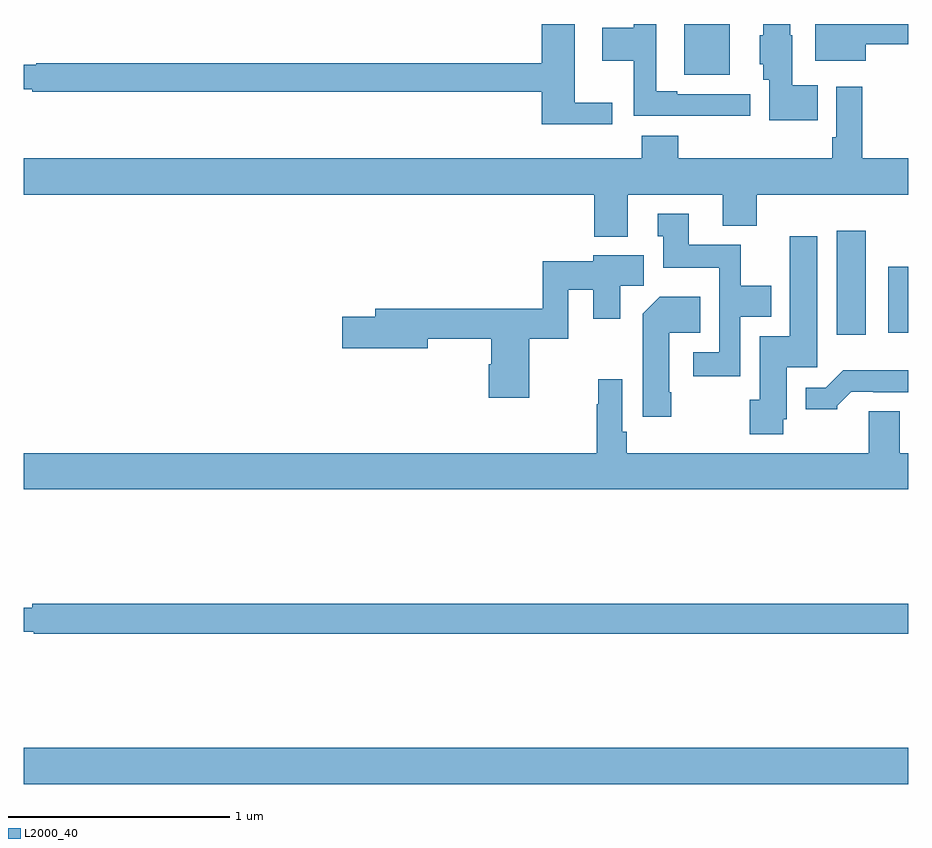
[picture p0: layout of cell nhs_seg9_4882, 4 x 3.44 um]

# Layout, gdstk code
import gdstk
lib = gdstk.Library(unit=1e-6, precision=1e-09)
def R(c, l, rs):  # rectangles x0, y0, x1, y1
    for r in rs: c.add(gdstk.rectangle(r[:2], r[2:], *l))
def P(c, l, *ps):  # polygons
    for p in ps: c.add(gdstk.Polygon(p, *l))
L2000_40 = (2000, 40)

nhs_seg9_4882 = lib.new_cell('nhs_seg9_4882')
R(nhs_seg9_4882, L2000_40, [(393,1219.064,397,1219.228), (396.677,1221.096,396.808,1221.565), (396.908,1221.104,397,1221.403), (395.987,1222.271,396.193,1222.5)])
P(nhs_seg9_4882, L2000_40, [(396.808,1222.408),(397,1222.408),(397,1222.5),(396.578,1222.5),(396.578,1222.334),(396.808,1222.334)],
  [(395.662,1222.145),(395.491,1222.145),(395.491,1222.5),(395.342,1222.5),(395.342,1222.322),(393.058,1222.322),(393.058,1222.315),(393,1222.315),(393,1222.206),(393.04,1222.206),(393.04,1222.194),(395.342,1222.194),(395.342,1222.046),(395.662,1222.046)],
  [(396.286,1222.182),(395.956,1222.182),(395.956,1222.195),(395.859,1222.195),(395.859,1222.5),(395.758,1222.5),(395.758,1222.482),(395.616,1222.482),(395.616,1222.334),(395.758,1222.334),(395.758,1222.086),(396.043,1222.086),(396.043,1222.085),(396.286,1222.085)],
  [(396.59,1222.222),(396.475,1222.222),(396.475,1222.449),(396.466,1222.449),(396.466,1222.5),(396.344,1222.5),(396.344,1222.449),(396.329,1222.449),(396.329,1222.317),(396.344,1222.317),(396.344,1222.248),(396.371,1222.248),(396.371,1222.064),(396.59,1222.064)],
  [(395.731,1221.728),(396.161,1221.728),(396.161,1221.587),(396.314,1221.587),(396.314,1221.728),(397,1221.728),(397,1221.892),(396.791,1221.892),(396.791,1222.216),(396.675,1222.216),(396.675,1221.988),(396.655,1221.988),(396.655,1221.892),(395.96,1221.892),(395.96,1221.994),(395.795,1221.994),(395.795,1221.892),(393,1221.892),(393,1221.728),(395.579,1221.728),(395.579,1221.539),(395.731,1221.539)],
  [(396.24,1221.176),(396.379,1221.176),(396.379,1221.316),(396.243,1221.316),(396.243,1221.502),(396.007,1221.502),(396.007,1221.643),(395.867,1221.643),(395.867,1221.54),(395.891,1221.54),(395.891,1221.398),(396.144,1221.398),(396.144,1221.015),(396.027,1221.015),(396.027,1220.907),(396.24,1220.907)],
  [(396.435,1220.712),(396.451,1220.712),(396.451,1220.949),(396.589,1220.949),(396.589,1221.541),(396.464,1221.541),(396.464,1221.088),(396.329,1221.088),(396.329,1220.802),(396.283,1220.802),(396.283,1220.646),(396.435,1220.646)],
  [(395.285,1221.076),(395.463,1221.076),(395.463,1221.298),(395.576,1221.298),(395.576,1221.168),(395.698,1221.168),(395.698,1221.316),(395.803,1221.316),(395.803,1221.454),(395.576,1221.454),(395.576,1221.427),(395.347,1221.427),(395.347,1221.212),(394.589,1221.212),(394.589,1221.176),(394.44,1221.176),(394.44,1221.034),(394.828,1221.034),(394.828,1221.076),(395.114,1221.076),(395.114,1220.961),(395.102,1220.961),(395.102,1220.811),(395.285,1220.811)],
  [(395.928,1220.836),(395.92,1220.836),(395.92,1221.104),(396.059,1221.104),(396.059,1221.268),(395.876,1221.268),(395.798,1221.19),(395.798,1220.724),(395.928,1220.724)],
  [(396.678,1220.774),(396.742,1220.838),(396.841,1220.838),(396.841,1220.835),(397,1220.835),(397,1220.935),(396.706,1220.935),(396.627,1220.856),(396.536,1220.856),(396.536,1220.759),(396.678,1220.759)],
  [(397,1220.56),(396.961,1220.56),(396.961,1220.75),(396.821,1220.75),(396.821,1220.56),(395.726,1220.56),(395.726,1220.656),(395.706,1220.656),(395.706,1220.893),(395.598,1220.893),(395.598,1220.78),(395.59,1220.78),(395.59,1220.56),(393,1220.56),(393,1220.396),(397,1220.396)],
  [(397,1219.88),(393.04,1219.88),(393.04,1219.861),(393,1219.861),(393,1219.752),(393.045,1219.752),(393.045,1219.744),(397,1219.744)])

lib.write_gds('nhs_seg9_4882.gds')
